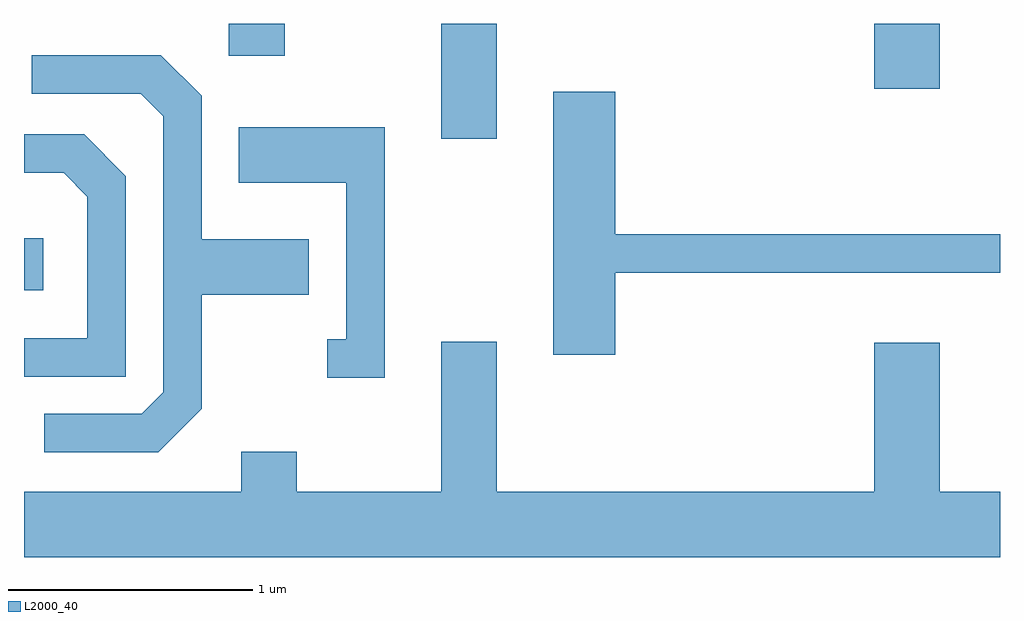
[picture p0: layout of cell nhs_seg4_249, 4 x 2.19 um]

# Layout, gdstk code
import gdstk
lib = gdstk.Library(unit=1e-6, precision=1e-09)
def R(c, l, rs):  # rectangles x0, y0, x1, y1
    for r in rs: c.add(gdstk.rectangle(r[:2], r[2:], *l))
def P(c, l, *ps):  # polygons
    for p in ps: c.add(gdstk.Polygon(p, *l))
L2000_40 = (2000, 40)

nhs_seg4_249 = lib.new_cell('nhs_seg4_249')
R(nhs_seg4_249, L2000_40, [(191.611,1346.891,191.689,1347.104), (193.321,1347.511,193.549,1347.982), (195.096,1347.716,195.364,1347.982), (192.451,1347.851,192.679,1347.982)])
P(nhs_seg4_249, L2000_40, [(192.339,1346.404),(192.339,1346.871),(192.779,1346.871),(192.779,1347.099),(192.339,1347.099),(192.339,1347.687),(192.172,1347.854),(191.643,1347.854),(191.643,1347.696),(192.089,1347.696),(192.181,1347.604),(192.181,1346.472),(192.094,1346.384),(191.693,1346.384),(191.693,1346.226),(192.162,1346.226)],
  [(194.034,1346.961),(195.611,1346.961),(195.611,1347.119),(194.034,1347.119),(194.034,1347.704),(193.781,1347.704),(193.781,1346.626),(194.034,1346.626)],
  [(193.089,1347.559),(192.491,1347.559),(192.491,1347.331),(192.931,1347.331),(192.931,1346.689),(192.853,1346.689),(192.853,1346.531),(193.089,1346.531)],
  [(192.029,1347.357),(191.857,1347.529),(191.611,1347.529),(191.611,1347.371),(191.774,1347.371),(191.871,1347.274),(191.871,1346.694),(191.611,1346.694),(191.611,1346.536),(192.029,1346.536)],
  [(195.611,1346.064),(195.364,1346.064),(195.364,1346.674),(195.096,1346.674),(195.096,1346.064),(193.549,1346.064),(193.549,1346.679),(193.321,1346.679),(193.321,1346.064),(192.729,1346.064),(192.729,1346.229),(192.501,1346.229),(192.501,1346.064),(191.611,1346.064),(191.611,1345.796),(195.611,1345.796)])

lib.write_gds('nhs_seg4_249.gds')
